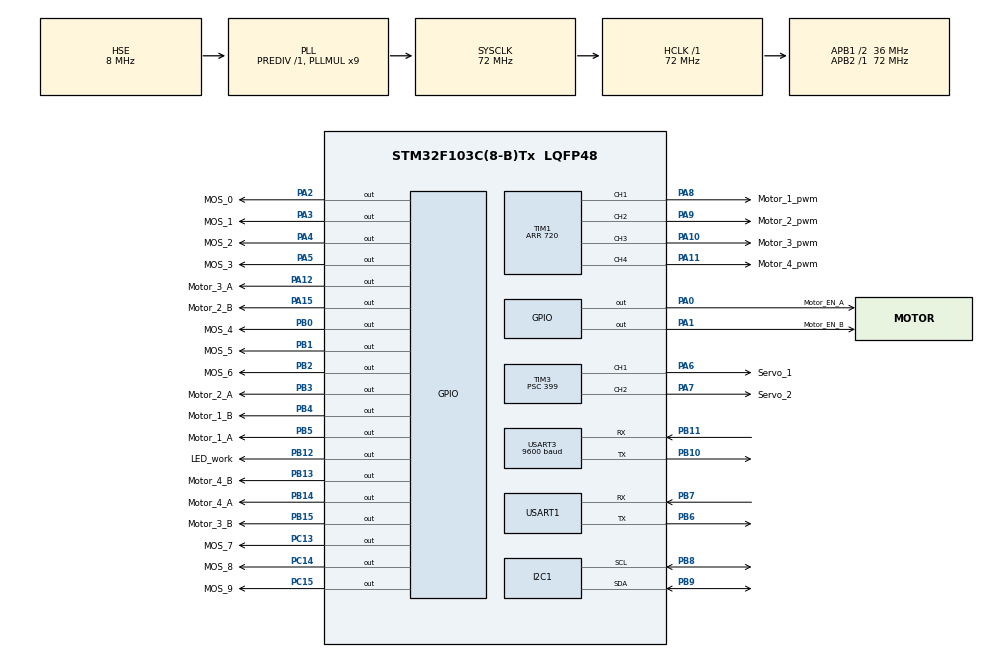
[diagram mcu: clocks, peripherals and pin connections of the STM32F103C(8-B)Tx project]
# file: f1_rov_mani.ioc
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I2C1.OwnAddress=0x04
Mcu.Family=STM32F1
Mcu.Name=STM32F103C(8-B)Tx
Mcu.Package=LQFP48
NVIC.I2C1_ER_IRQn=true\:0\:0\:false\:false\:true\:true\:true\:true
NVIC.I2C1_EV_IRQn=true\:0\:0\:false\:false\:true\:true\:true\:true
NVIC.PriorityGroup=NVIC_PRIORITYGROUP_4
NVIC.TIM2_IRQn=true\:0\:0\:false\:false\:true\:true\:true\:true
NVIC.TIM4_IRQn=true\:0\:0\:false\:false\:true\:true\:true\:true
NVIC.USART1_IRQn=true\:0\:0\:false\:false\:true\:true\:true\:true
PA0-WKUP.GPIO_Label=Motor_EN_A
PA0-WKUP.Signal=GPIO_Output
PA1.GPIO_Label=Motor_EN_B
PA1.Signal=GPIO_Output
PA10.GPIO_Label=Motor_3_pwm
PA10.Signal=S_TIM1_CH3
PA11.GPIO_Label=Motor_4_pwm
PA11.Signal=S_TIM1_CH4
PA12.GPIO_Label=Motor_3_A
PA12.Signal=GPIO_Output
PA13.Mode=Serial_Wire
PA13.Signal=SYS_JTMS-SWDIO
PA14.Mode=Serial_Wire
PA14.Signal=SYS_JTCK-SWCLK
PA15.GPIO_Label=Motor_2_B
PA15.Signal=GPIO_Output
PA2.GPIO_Label=MOS_0
PA2.Signal=GPIO_Output
PA3.GPIO_Label=MOS_1
PA3.Signal=GPIO_Output
PA4.GPIO_Label=MOS_2
PA4.Signal=GPIO_Output
PA5.GPIO_Label=MOS_3
PA5.Signal=GPIO_Output
PA6.GPIO_Label=Servo_1
PA6.Signal=S_TIM3_CH1
PA7.GPIO_Label=Servo_2
PA7.Signal=S_TIM3_CH2
PA8.GPIO_Label=Motor_1_pwm
PA8.Signal=S_TIM1_CH1
PA9.GPIO_Label=Motor_2_pwm
PA9.Signal=S_TIM1_CH2
PB0.GPIO_Label=MOS_4
PB0.Signal=GPIO_Output
PB1.GPIO_Label=MOS_5
PB1.Signal=GPIO_Output
PB10.Mode=Asynchronous
PB10.Signal=USART3_TX
PB11.Mode=Asynchronous
PB11.Signal=USART3_RX
PB12.GPIO_Label=LED_work
PB12.Signal=GPIO_Output
PB13.GPIO_Label=Motor_4_B
PB13.Signal=GPIO_Output
PB14.GPIO_Label=Motor_4_A
PB14.Signal=GPIO_Output
PB15.GPIO_Label=Motor_3_B
PB15.Signal=GPIO_Output
PB2.GPIO_Label=MOS_6
PB2.Signal=GPIO_Output
PB3.GPIO_Label=Motor_2_A
PB3.Signal=GPIO_Output
PB4.GPIO_Label=Motor_1_B
PB4.Signal=GPIO_Output
PB5.GPIO_Label=Motor_1_A
PB5.Signal=GPIO_Output
PB6.Mode=Asynchronous
PB6.Signal=USART1_TX
PB7.Mode=Asynchronous
PB7.Signal=USART1_RX
PB8.GPIO_Pu=GPIO_PULLUP
PB8.Mode=I2C
PB8.Signal=I2C1_SCL
PB9.GPIO_Pu=GPIO_PULLUP
PB9.Mode=I2C
PB9.Signal=I2C1_SDA
PC13-TAMPER-RTC.GPIO_Label=MOS_7
PC13-TAMPER-RTC.Signal=GPIO_Output
PC14-OSC32_IN.GPIO_Label=MOS_8
PC14-OSC32_IN.Signal=GPIO_Output
PC15-OSC32_OUT.GPIO_Label=MOS_9
PC15-OSC32_OUT.Signal=GPIO_Output
PD0-OSC_IN.Mode=HSE-External-Oscillator
PD0-OSC_IN.Signal=RCC_OSC_IN
PD1-OSC_OUT.Mode=HSE-External-Oscillator
PD1-OSC_OUT.Signal=RCC_OSC_OUT
ProjectManager.HeapSize=0x200
ProjectManager.StackSize=0x400
ProjectManager.TargetToolchain=MDK-ARM V5
RCC.AHBFreq_Value=72000000
RCC.APB1CLKDivider=RCC_HCLK_DIV2
RCC.APB1Freq_Value=36000000
RCC.APB1TimFreq_Value=72000000
RCC.APB2Freq_Value=72000000
RCC.APB2TimFreq_Value=72000000
RCC.HCLKFreq_Value=72000000
RCC.PLLMUL=RCC_PLL_MUL9
RCC.PLLSourceVirtual=RCC_PLLSOURCE_HSE
RCC.SYSCLKFreq_VALUE=72000000
RCC.SYSCLKSource=RCC_SYSCLKSOURCE_PLLCLK
RCC.USBFreq_Value=72000000
SH.S_TIM1_CH1.0=TIM1_CH1,PWM Generation1 CH1
SH.S_TIM1_CH2.0=TIM1_CH2,PWM Generation2 CH2
SH.S_TIM1_CH3.0=TIM1_CH3,PWM Generation3 CH3
SH.S_TIM1_CH4.0=TIM1_CH4,PWM Generation4 CH4
SH.S_TIM3_CH1.0=TIM3_CH1,PWM Generation1 CH1
SH.S_TIM3_CH2.0=TIM3_CH2,PWM Generation2 CH2
TIM1.Channel-PWM\ Generation1\ CH1=TIM_CHANNEL_1
TIM1.Channel-PWM\ Generation2\ CH2=TIM_CHANNEL_2
TIM1.Channel-PWM\ Generation3\ CH3=TIM_CHANNEL_3
TIM1.Channel-PWM\ Generation4\ CH4=TIM_CHANNEL_4
TIM1.Period=720
TIM2.Period=2000
TIM2.Prescaler=7199
TIM3.Channel-PWM\ Generation1\ CH1=TIM_CHANNEL_1
TIM3.Channel-PWM\ Generation2\ CH2=TIM_CHANNEL_2
TIM3.Period=3600
TIM3.Prescaler=399
TIM3.Pulse-PWM\ Generation1\ CH1=270
TIM3.Pulse-PWM\ Generation2\ CH2=270
TIM4.Period=10000
TIM4.Prescaler=7199
USART1.VirtualMode=VM_ASYNC
USART3.BaudRate=9600
USART3.VirtualMode=VM_ASYNC
VP_TIM2_VS_ClockSourceINT.Mode=Internal
VP_TIM4_VS_ClockSourceINT.Mode=Internal
board=custom

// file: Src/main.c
/* USER CODE BEGIN Header */
/**
  ******************************************************************************
  * @file           : main.c
  * @brief          : Main program body
  ******************************************************************************
  ** This notice applies to any and all portions of this file
  * that are not between comment pairs USER CODE BEGIN and
  * USER CODE END. Other portions of this file, whether
  * inserted by the user or by software development tools
  * are owned by their respective copyright owners.
  *
  * COPYRIGHT(c) 2019 STMicroelectronics
  *
  * Redistribution and use in source and binary forms, with or without modification,
  * are permitted provided that the following conditions are met:
  *   1. Redistributions of source code must retain the above copyright notice,
  *      this list of conditions and the following disclaimer.
  *   2. Redistributions in binary form must reproduce the above copyright notice,
  *      this list of conditions and the following disclaimer in the documentation
  *      and/or other materials provided with the distribution.
  *   3. Neither the name of STMicroelectronics nor the names of its contributors
  *      may be used to endorse or promote products derived from this software
  *      without specific prior written permission.
  *
  * THIS SOFTWARE IS PROVIDED BY THE COPYRIGHT HOLDERS AND CONTRIBUTORS "AS IS"
  * AND ANY EXPRESS OR IMPLIED WARRANTIES, INCLUDING, BUT NOT LIMITED TO, THE
  * IMPLIED WARRANTIES OF MERCHANTABILITY AND FITNESS FOR A PARTICULAR PURPOSE ARE
  * DISCLAIMED. IN NO EVENT SHALL THE COPYRIGHT HOLDER OR CONTRIBUTORS BE LIABLE
  * FOR ANY DIRECT, INDIRECT, INCIDENTAL, SPECIAL, EXEMPLARY, OR CONSEQUENTIAL
  * DAMAGES (INCLUDING, BUT NOT LIMITED TO, PROCUREMENT OF SUBSTITUTE GOODS OR
  * SERVICES; LOSS OF USE, DATA, OR PROFITS; OR BUSINESS INTERRUPTION) HOWEVER
  * CAUSED AND ON ANY THEORY OF LIABILITY, WHETHER IN CONTRACT, STRICT LIABILITY,
  * OR TORT (INCLUDING NEGLIGENCE OR OTHERWISE) ARISING IN ANY WAY OUT OF THE USE
  * OF THIS SOFTWARE, EVEN IF ADVISED OF THE POSSIBILITY OF SUCH DAMAGE.
  *
  ******************************************************************************
  */
/* USER CODE END Header */
#include "main.h"

/* USER CODE BEGIN Includes */
#include "register_map.h"
/* USER CODE END Includes */

I2C_HandleTypeDef hi2c1;

TIM_HandleTypeDef htim1;
TIM_HandleTypeDef htim2;
TIM_HandleTypeDef htim3;
TIM_HandleTypeDef htim4;

UART_HandleTypeDef huart1;
UART_HandleTypeDef huart3;

/* USER CODE BEGIN PV */
uint8_t rece[1];
uint8_t rece_i2c[1];
uint8_t command[2];
uint8_t registers[register_count];
uint8_t operate[2];

TIM_OC_InitTypeDef m1,m2,m3,m4;

uint8_t addressed = 0;
uint8_t addressed_i2c = 0;
uint8_t i2c_check_flag = 0;
uint8_t command_flag = 0;
uint8_t led_light_1;
uint8_t led_light_2;
uint8_t send[2];
uint32_t n_pulse;

/* USER CODE END PV */

void SystemClock_Config(void);
static void MX_GPIO_Init(void);
static void MX_TIM1_Init(void);
static void MX_I2C1_Init(void);
static void MX_USART1_UART_Init(void);
static void MX_TIM3_Init(void);
static void MX_USART3_UART_Init(void);
static void MX_TIM4_Init(void);
static void MX_TIM2_Init(void);

/* USER CODE BEGIN 0 */
void operate_handle(uint8_t* todo){
	switch (todo[0]) {
		case '1':
			switch (todo[1]) {
				case 'F':
					n_pulse = registers[motor_1_speed - 0x80] * motor_pulse_max;
					n_pulse /= 100;
					htim1.Instance->CCR1 = n_pulse;
					HAL_GPIO_WritePin(Motor_1_B_GPIO_Port,Motor_1_B_Pin,GPIO_PIN_SET);
					HAL_GPIO_WritePin(Motor_1_A_GPIO_Port,Motor_1_A_Pin,GPIO_PIN_RESET);
					HAL_GPIO_WritePin(Motor_EN_A_GPIO_Port,Motor_EN_A_Pin,GPIO_PIN_SET);
					HAL_TIM_PWM_Start(&htim1,TIM_CHANNEL_1);
					break;

				case 'B':
					n_pulse = registers[motor_1_speed - 0x80] * motor_pulse_max;
					n_pulse /= 100;
					htim1.Instance->CCR1 = n_pulse;
					HAL_GPIO_WritePin(Motor_1_B_GPIO_Port,Motor_1_B_Pin,GPIO_PIN_RESET);
					HAL_GPIO_WritePin(Motor_1_A_GPIO_Port,Motor_1_A_Pin,GPIO_PIN_SET);
					HAL_GPIO_WritePin(Motor_EN_A_GPIO_Port,Motor_EN_A_Pin,GPIO_PIN_SET);
					HAL_TIM_PWM_Start(&htim1,TIM_CHANNEL_1);
					break;

				case 'S':
					HAL_GPIO_WritePin(Motor_EN_A_GPIO_Port,Motor_EN_A_Pin,GPIO_PIN_RESET);
					break;
			}
			break;

		case '2':
			switch (todo[1]) {
				case 'F':
					n_pulse = registers[motor_2_speed - 0x80] * motor_pulse_max;
					n_pulse /= 100;
					htim1.Instance->CCR2 = n_pulse;
					HAL_GPIO_WritePin(Motor_2_A_GPIO_Port,Motor_2_A_Pin,GPIO_PIN_SET);
					HAL_GPIO_WritePin(Motor_2_B_GPIO_Port,Motor_2_B_Pin,GPIO_PIN_RESET);
					HAL_GPIO_WritePin(Motor_EN_A_GPIO_Port,Motor_EN_A_Pin,GPIO_PIN_SET);
					HAL_TIM_PWM_Start(&htim1,TIM_CHANNEL_2);
					break;

				case 'B':
					n_pulse = registers[motor_2_speed - 0x80] * motor_pulse_max;
					n_pulse /= 100;
					htim1.Instance->CCR2 = n_pulse;
					HAL_GPIO_WritePin(Motor_2_A_GPIO_Port,Motor_2_A_Pin,GPIO_PIN_RESET);
					HAL_GPIO_WritePin(Motor_2_B_GPIO_Port,Motor_2_B_Pin,GPIO_PIN_SET);
					HAL_GPIO_WritePin(Motor_EN_A_GPIO_Port,Motor_EN_A_Pin,GPIO_PIN_SET);
					HAL_TIM_PWM_Start(&htim1,TIM_CHANNEL_2);
					break;

				case 'S':
					HAL_GPIO_WritePin(Motor_EN_A_GPIO_Port,Motor_EN_A_Pin,GPIO_PIN_RESET);
					break;
			}
			break;

		case '3':
			switch (todo[1]) {
				case 'F':
					n_pulse = registers[motor_3_speed - 0x80] * motor_pulse_max;
					n_pulse /= 100;
					htim1.Instance->CCR3 = n_pulse;
					HAL_GPIO_WritePin(Motor_3_B_GPIO_Port,Motor_3_B_Pin,GPIO_PIN_SET);
					HAL_GPIO_WritePin(Motor_3_A_GPIO_Port,Motor_3_A_Pin,GPIO_PIN_RESET);
					HAL_GPIO_WritePin(Motor_EN_B_GPIO_Port,Motor_EN_B_Pin,GPIO_PIN_SET);
					HAL_TIM_PWM_Start(&htim1,TIM_CHANNEL_3);
					break;

				case 'B':
					n_pulse = registers[motor_3_speed - 0x80] * motor_pulse_max;
					n_pulse /= 100;
					htim1.Instance->CCR3 = n_pulse;
					HAL_GPIO_WritePin(Motor_3_B_GPIO_Port,Motor_3_B_Pin,GPIO_PIN_RESET);
					HAL_GPIO_WritePin(Motor_3_A_GPIO_Port,Motor_3_A_Pin,GPIO_PIN_SET);
					HAL_GPIO_WritePin(Motor_EN_B_GPIO_Port,Motor_EN_B_Pin,GPIO_PIN_SET);
					HAL_TIM_PWM_Start(&htim1,TIM_CHANNEL_3);
					break;

				case 'S':
					HAL_GPIO_WritePin(Motor_EN_B_GPIO_Port,Motor_EN_B_Pin,GPIO_PIN_RESET);
					break;
			}
			break;

		case '4':
			switch (todo[1]) {
				case 'F':
					n_pulse = registers[motor_4_speed - 0x80] * motor_pulse_max;
					n_pulse /= 100;
					htim1.Instance->CCR4 = n_pulse;
					HAL_GPIO_WritePin(Motor_4_A_GPIO_Port,Motor_4_A_Pin,GPIO_PIN_SET);
					HAL_GPIO_WritePin(Motor_4_B_GPIO_Port,Motor_4_B_Pin,GPIO_PIN_RESET);
					HAL_GPIO_WritePin(Motor_EN_B_GPIO_Port,Motor_EN_B_Pin,GPIO_PIN_SET);
					HAL_TIM_PWM_Start(&htim1,TIM_CHANNEL_4);
					break;

				case 'B':
					n_pulse = registers[motor_4_speed - 0x80] * motor_pulse_max;
					n_pulse /= 100;
					htim1.Instance->CCR4 = n_pulse;
					HAL_GPIO_WritePin(Motor_4_A_GPIO_Port,Motor_4_A_Pin,GPIO_PIN_RESET);
					HAL_GPIO_WritePin(Motor_4_B_GPIO_Port,Motor_4_B_Pin,GPIO_PIN_SET);
					HAL_GPIO_WritePin(Motor_EN_B_GPIO_Port,Motor_EN_B_Pin,GPIO_PIN_SET);
					HAL_TIM_PWM_Start(&htim1,TIM_CHANNEL_4);
					break;

				case 'S':
					HAL_GPIO_WritePin(Motor_EN_B_GPIO_Port,Motor_EN_B_Pin,GPIO_PIN_RESET);
					break;
			}
			break;

		case 'H':
			switch (todo[1]) {
				case '0':
					send[0] = '1';
					send[1] = 0;
					HAL_UART_Transmit(&huart3,send,2,10);
					break;

				case '1':
					led_light_1 = registers[led_light - 0x80] & 0x07;
					send[0] = '1';
					send[1] = led_light_1;
					HAL_UART_Transmit(&huart3,send,2,10);
					break;

				case 'B':
					led_light_1 = registers[led_light - 0x80] & 0x07;
					send[0] = '1';
					if (led_light_1 != 6){
						registers[led_light - 0x80] += 1;
						led_light_1 += 1;
					}
					send[1] = led_light_1;
					HAL_UART_Transmit(&huart3,send,2,10);
					break;

				case 'D':
					led_light_1 = registers[led_light - 0x80] & 0x07;
					send[0] = '1';
					if (led_light_1 != 0){
						registers[led_light - 0x80] -= 1;
						led_light_1 -= 1;
					}
					send[1] = led_light_1;
					HAL_UART_Transmit(&huart3,send,2,10);
					break;
			}
			break;

		case 'B':
			switch (todo[1]) {
				case '0':
					send[0] = '2';
					send[1] = 0;
					HAL_UART_Transmit(&huart3,send,2,10);
					break;

				case '1':
					led_light_2 = registers[led_light - 0x80] >> 3;
					led_light_2 &= 0x07;
					send[0] = '2';
					send[1] = led_light_2;
					HAL_UART_Transmit(&huart3,send,2,10);
					break;

				case 'B':
					led_light_2 = registers[led_light - 0x80] >> 3;
					led_light_2 &= 0x07;
					send[0] = '2';
					if (led_light_2 != 6){
						registers[led_light - 0x80] += 8;
						led_light_2 += 1;
					}
					send[1] = led_light_2;
					HAL_UART_Transmit(&huart3,send,2,10);
					break;

				case 'D':
					led_light_2 = registers[led_light - 0x80] >> 3;
					led_light_2 &= 0x07;
					send[0] = '2';
					if (led_light_2 != 0){
						registers[led_light - 0x80] -= 8;
						led_light_2 -= 1;
					}
					send[1] = led_light_2;
					HAL_UART_Transmit(&huart3,send,2,10);
					break;

			}
			break;

		case 'F':
			switch (todo[1]) {
				case '0':
					READ_BIT(registers[mosfet_1_reg - 0x80],mos_0)?HAL_GPIO_TogglePin(MOS_0_GPIO_Port,MOS_0_Pin):HAL_GPIO_WritePin(MOS_0_GPIO_Port,MOS_0_Pin,GPIO_PIN_SET);
					break;

				case '1':
					READ_BIT(registers[mosfet_1_reg - 0x80],mos_1)?HAL_GPIO_TogglePin(MOS_1_GPIO_Port,MOS_1_Pin):HAL_GPIO_WritePin(MOS_1_GPIO_Port,MOS_1_Pin,GPIO_PIN_SET);
					break;

				case '2':
					READ_BIT(registers[mosfet_1_reg - 0x80],mos_2)?HAL_GPIO_TogglePin(MOS_2_GPIO_Port,MOS_2_Pin):HAL_GPIO_WritePin(MOS_2_GPIO_Port,MOS_2_Pin,GPIO_PIN_SET);
					break;

				case '3':
					READ_BIT(registers[mosfet_1_reg - 0x80],mos_3)?HAL_GPIO_TogglePin(MOS_3_GPIO_Port,MOS_3_Pin):HAL_GPIO_WritePin(MOS_3_GPIO_Port,MOS_3_Pin,GPIO_PIN_SET);
					break;

				case '4':
					READ_BIT(registers[mosfet_1_reg - 0x80],mos_4)?HAL_GPIO_TogglePin(MOS_4_GPIO_Port,MOS_4_Pin):HAL_GPIO_WritePin(MOS_4_GPIO_Port,MOS_4_Pin,GPIO_PIN_SET);
					break;

				case '5':
					READ_BIT(registers[mosfet_1_reg - 0x80],mos_5)?HAL_GPIO_TogglePin(MOS_5_GPIO_Port,MOS_5_Pin):HAL_GPIO_WritePin(MOS_5_GPIO_Port,MOS_5_Pin,GPIO_PIN_SET);
					break;

				case '6':
					READ_BIT(registers[mosfet_1_reg - 0x80],mos_6)?HAL_GPIO_TogglePin(MOS_6_GPIO_Port,MOS_6_Pin):HAL_GPIO_WritePin(MOS_6_GPIO_Port,MOS_6_Pin,GPIO_PIN_SET);
					break;

				case '7':
					READ_BIT(registers[mosfet_2_reg - 0x80],mos_7)?HAL_GPIO_TogglePin(MOS_7_GPIO_Port,MOS_7_Pin):HAL_GPIO_WritePin(MOS_7_GPIO_Port,MOS_7_Pin,GPIO_PIN_SET);
					break;

				case '8':
					READ_BIT(registers[mosfet_2_reg - 0x80],mos_8)?HAL_GPIO_TogglePin(MOS_8_GPIO_Port,MOS_8_Pin):HAL_GPIO_WritePin(MOS_8_GPIO_Port,MOS_8_Pin,GPIO_PIN_SET);
					break;

				case '9':
					READ_BIT(registers[mosfet_2_reg - 0x80],mos_9)?HAL_GPIO_TogglePin(MOS_9_GPIO_Port,MOS_9_Pin):HAL_GPIO_WritePin(MOS_9_GPIO_Port,MOS_9_Pin,GPIO_PIN_SET);
					break;
			}
			HAL_TIM_Base_Start_IT(&htim2);
			break;

		case 'M':
			send[0] = 'M';
			send[1] = 1;
			HAL_UART_Transmit(&huart3,send,2,10);
			HAL_TIM_Base_Start_IT(&htim2);
			break;
	}
}

void change_reg(void){
	uint8_t tmp = command[0] + 0x80;

	switch (tmp) {
		case servo_1_deg:
			htim3.Instance->CCR1 = servo_0 + registers[servo_1_deg - 0x80];
			HAL_TIM_PWM_Start(&htim3,TIM_CHANNEL_1);
			break;

		case servo_2_deg:
			htim3.Instance->CCR2 = servo_0 + registers[servo_2_deg - 0x80];
			HAL_TIM_PWM_Start(&htim3,TIM_CHANNEL_2);
			break;

		case led_light:
			led_light_1 = registers[led_light - 0x80] & 0x07;
			send[0] = '1';
			send[1] = led_light_1;
			HAL_UART_Transmit(&huart3,send,2,10);
			led_light_2 = registers[led_light - 0x80] >> 3;
			led_light_2 &= 0x07;
			send[0] = '2';
			send[1] = led_light_2;
			HAL_UART_Transmit(&huart3,send,2,10);
			break;

		case motor_1_speed:
			n_pulse = registers[motor_1_speed - 0x80] * motor_pulse_max;
			n_pulse /= 100;
			htim1.Instance->CCR1 = n_pulse;
			HAL_TIM_PWM_Start(&htim1,TIM_CHANNEL_1);
			break;

		case motor_2_speed:
			n_pulse = registers[motor_2_speed - 0x80] * motor_pulse_max;
			n_pulse /= 100;
			htim1.Instance->CCR2 = n_pulse;
			HAL_TIM_PWM_Start(&htim1,TIM_CHANNEL_2);
			break;

		case motor_3_speed:
			n_pulse = registers[motor_3_speed - 0x80] * motor_pulse_max;
			n_pulse /= 100;
			htim1.Instance->CCR3 = n_pulse;
			HAL_TIM_PWM_Start(&htim1,TIM_CHANNEL_3);
			break;

		case motor_4_speed:
			n_pulse = registers[motor_4_speed - 0x80] * motor_pulse_max;
			n_pulse /= 100;
			htim1.Instance->CCR4 = n_pulse;
			HAL_TIM_PWM_Start(&htim1,TIM_CHANNEL_4);
			break;
	}
}
void HAL_UART_RxCpltCallback(UART_HandleTypeDef *huart){
	HAL_GPIO_TogglePin(LED_work_GPIO_Port,LED_work_Pin);

	if (!command_flag){
		if (rece[0] == 0x8A){
			command_flag = 2;
		}else if (READ_BIT(rece[0],0x80) && !addressed){    // set register
			command[0] = rece[0] - 0x80;
			addressed++;
		} else if (command[0]){                         		// set value
			command[1] = rece[0];
			registers[command[0]] = rece[0];
			change_reg();
			addressed--;
			command[0] = 0;
		}
	} else {
		if (command_flag == 2){
			operate[0] = rece[0];
		} else if (command_flag == 1){
			operate[1] = rece[0];
			operate_handle(operate);
		}
		command_flag--;
	}
  HAL_UART_Receive_IT(&huart1,rece,1);
}

/*void HAL_I2C_SlaveRxCpltCallback(I2C_HandleTypeDef *hi2c){
	if (READ_BIT(rece_i2c[0],0x80) && !addressed_i2c){    // set register
    command[0] = rece_i2c[0] - 0x80;
		addressed_i2c++;
	} else if (command[0]){                         // set value
    command[1] = rece_i2c[0];
    registers[command[0]] = rece_i2c[0];
    work(registers);
		addressed_i2c--;
		command[0] = 0;
  }
	HAL_I2C_Slave_Receive_IT(&hi2c1,rece_i2c,1);
}*/

void nth(void){};
void HAL_TIM_PeriodElapsedCallback(TIM_HandleTypeDef *htim){
	if (htim == &htim4){
		addressed = 0;
		addressed_i2c = 0;
	}
	if (htim == &htim2){
		!READ_BIT(registers[mosfet_1_reg - 0x80],mos_0)?HAL_GPIO_WritePin(MOS_0_GPIO_Port,MOS_0_Pin,GPIO_PIN_RESET):nth();
		!READ_BIT(registers[mosfet_1_reg - 0x80],mos_1)?HAL_GPIO_WritePin(MOS_1_GPIO_Port,MOS_1_Pin,GPIO_PIN_RESET):nth();
		!READ_BIT(registers[mosfet_1_reg - 0x80],mos_3)?HAL_GPIO_WritePin(MOS_3_GPIO_Port,MOS_3_Pin,GPIO_PIN_RESET):nth();
		!READ_BIT(registers[mosfet_1_reg - 0x80],mos_2)?HAL_GPIO_WritePin(MOS_2_GPIO_Port,MOS_2_Pin,GPIO_PIN_RESET):nth();
		!READ_BIT(registers[mosfet_1_reg - 0x80],mos_4)?HAL_GPIO_WritePin(MOS_4_GPIO_Port,MOS_4_Pin,GPIO_PIN_RESET):nth();
		!READ_BIT(registers[mosfet_1_reg - 0x80],mos_5)?HAL_GPIO_WritePin(MOS_5_GPIO_Port,MOS_5_Pin,GPIO_PIN_RESET):nth();
		!READ_BIT(registers[mosfet_1_reg - 0x80],mos_6)?HAL_GPIO_WritePin(MOS_6_GPIO_Port,MOS_6_Pin,GPIO_PIN_RESET):nth();
		!READ_BIT(registers[mosfet_2_reg - 0x80],mos_7)?HAL_GPIO_WritePin(MOS_7_GPIO_Port,MOS_7_Pin,GPIO_PIN_RESET):nth();
		!READ_BIT(registers[mosfet_2_reg - 0x80],mos_8)?HAL_GPIO_WritePin(MOS_8_GPIO_Port,MOS_8_Pin,GPIO_PIN_RESET):nth();
		!READ_BIT(registers[mosfet_2_reg - 0x80],mos_9)?HAL_GPIO_WritePin(MOS_9_GPIO_Port,MOS_9_Pin,GPIO_PIN_RESET):nth();
		if (!READ_BIT(registers[mosfet_2_reg - 0x80],magnet)){
			send[0] = 'M';
			send[1] = 0;
			HAL_UART_Transmit(&huart3,send,2,10);
		}
	}
}
/* USER CODE END 0 */

int main(void)
{

  /* MCU Configuration--------------------------------------------------------*/

  /* Reset of all peripherals, Initializes the Flash interface and the Systick. */
  HAL_Init();

  /* Configure the system clock */
  SystemClock_Config();

  /* Initialize all configured peripherals */
  MX_GPIO_Init();
  MX_TIM1_Init();
  MX_I2C1_Init();
  MX_USART1_UART_Init();
  MX_TIM3_Init();
  MX_USART3_UART_Init();
  MX_TIM4_Init();
  MX_TIM2_Init();
  /* USER CODE BEGIN 2 */
  registers[state_reg - 0x80] = 0x7F;
	registers[mosfet_2_reg - 0x80] = 0x08;
	registers[servo_1_deg - 0x80] = 90;
	registers[servo_2_deg - 0x80] = 90;
	registers[motor_1_speed - 0x80] = 10;
	registers[motor_2_speed - 0x80] = 10;
	registers[motor_3_speed - 0x80] = 10;
	registers[motor_4_speed - 0x80] = 10;
	registers[led_light - 0x80] = 0x1B;
	//HAL_I2C_Slave_Receive_IT(&hi2c1,rece_i2c,1);

	uint8_t init[2];
	init[0] = '1';
	init[1] = 3;
	HAL_UART_Transmit(&huart3,init,2,20);
	init[0] = '2';
	HAL_UART_Transmit(&huart3,init,2,20);
	HAL_TIM_PWM_Start(&htim3,TIM_CHANNEL_1);
	HAL_TIM_PWM_Start(&htim3,TIM_CHANNEL_2);
  HAL_UART_Receive_IT(&huart1,rece,1);
	HAL_TIM_Base_Start_IT(&htim4);

  /* USER CODE END 2 */

  /* Infinite loop */
  /* USER CODE BEGIN WHILE */
  while (1)
  {
//		HAL_Delay(500);
//		READ_BIT(registers[mosfet_2_reg - 0x80],mos_9)?HAL_GPIO_TogglePin(MOS_9_GPIO_Port,MOS_9_Pin):HAL_GPIO_WritePin(MOS_9_GPIO_Port,MOS_9_Pin,GPIO_PIN_SET);
//		HAL_TIM_Base_Start_IT(&htim2);
		/*HAL_GPIO_WritePin(MOS_5_GPIO_Port,MOS_5_Pin,1);
		HAL_GPIO_WritePin(MOS_7_GPIO_Port,MOS_7_Pin,1);
		HAL_GPIO_WritePin(MOS_8_GPIO_Port,MOS_8_Pin,1);
		HAL_GPIO_WritePin(MOS_9_GPIO_Port,MOS_9_Pin,1);*/
    /* USER CODE END WHILE */

  }
}

void SystemClock_Config(void)
{
  RCC_OscInitTypeDef RCC_OscInitStruct = {0};
  RCC_ClkInitTypeDef RCC_ClkInitStruct = {0};

  /** Initializes the RCC Oscillators according to the specified parameters
  * in the RCC_OscInitTypeDef structure.
  */
  RCC_OscInitStruct.OscillatorType = RCC_OSCILLATORTYPE_HSE;
  RCC_OscInitStruct.HSEState = RCC_HSE_ON;
  RCC_OscInitStruct.HSEPredivValue = RCC_HSE_PREDIV_DIV1;
  RCC_OscInitStruct.HSIState = RCC_HSI_ON;
  RCC_OscInitStruct.PLL.PLLState = RCC_PLL_ON;
  RCC_OscInitStruct.PLL.PLLSource = RCC_PLLSOURCE_HSE;
  RCC_OscInitStruct.PLL.PLLMUL = RCC_PLL_MUL9;
  if (HAL_RCC_OscConfig(&RCC_OscInitStruct) != HAL_OK)
  {
    Error_Handler();
  }

  /** Initializes the CPU, AHB and APB buses clocks
  */
  RCC_ClkInitStruct.ClockType = RCC_CLOCKTYPE_HCLK|RCC_CLOCKTYPE_SYSCLK
                              |RCC_CLOCKTYPE_PCLK1|RCC_CLOCKTYPE_PCLK2;
  RCC_ClkInitStruct.SYSCLKSource = RCC_SYSCLKSOURCE_PLLCLK;
  RCC_ClkInitStruct.AHBCLKDivider = RCC_SYSCLK_DIV1;
  RCC_ClkInitStruct.APB1CLKDivider = RCC_HCLK_DIV2;
  RCC_ClkInitStruct.APB2CLKDivider = RCC_HCLK_DIV1;

  if (HAL_RCC_ClockConfig(&RCC_ClkInitStruct, FLASH_LATENCY_2) != HAL_OK)
  {
    Error_Handler();
  }
}

static void MX_I2C1_Init(void)
{

  hi2c1.Instance = I2C1;
  hi2c1.Init.ClockSpeed = 100000;
  hi2c1.Init.DutyCycle = I2C_DUTYCYCLE_2;
  hi2c1.Init.OwnAddress1 = 8;
  hi2c1.Init.AddressingMode = I2C_ADDRESSINGMODE_7BIT;
  hi2c1.Init.DualAddressMode = I2C_DUALADDRESS_DISABLE;
  hi2c1.Init.OwnAddress2 = 0;
  hi2c1.Init.GeneralCallMode = I2C_GENERALCALL_DISABLE;
  hi2c1.Init.NoStretchMode = I2C_NOSTRETCH_DISABLE;
  if (HAL_I2C_Init(&hi2c1) != HAL_OK)
  {
    Error_Handler();
  }

}

static void MX_TIM1_Init(void)
{

  TIM_MasterConfigTypeDef sMasterConfig = {0};
  TIM_OC_InitTypeDef sConfigOC = {0};
  TIM_BreakDeadTimeConfigTypeDef sBreakDeadTimeConfig = {0};

  htim1.Instance = TIM1;
  htim1.Init.Prescaler = 0;
  htim1.Init.CounterMode = TIM_COUNTERMODE_UP;
  htim1.Init.Period = 720;
  htim1.Init.ClockDivision = TIM_CLOCKDIVISION_DIV1;
  htim1.Init.RepetitionCounter = 0;
  htim1.Init.AutoReloadPreload = TIM_AUTORELOAD_PRELOAD_DISABLE;
  if (HAL_TIM_PWM_Init(&htim1) != HAL_OK)
  {
    Error_Handler();
  }
  sMasterConfig.MasterOutputTrigger = TIM_TRGO_RESET;
  sMasterConfig.MasterSlaveMode = TIM_MASTERSLAVEMODE_DISABLE;
  if (HAL_TIMEx_MasterConfigSynchronization(&htim1, &sMasterConfig) != HAL_OK)
  {
    Error_Handler();
  }
  sConfigOC.OCMode = TIM_OCMODE_PWM1;
  sConfigOC.Pulse = 0;
  sConfigOC.OCPolarity = TIM_OCPOLARITY_HIGH;
  sConfigOC.OCNPolarity = TIM_OCNPOLARITY_HIGH;
  sConfigOC.OCFastMode = TIM_OCFAST_DISABLE;
  sConfigOC.OCIdleState = TIM_OCIDLESTATE_RESET;
  sConfigOC.OCNIdleState = TIM_OCNIDLESTATE_RESET;
  if (HAL_TIM_PWM_ConfigChannel(&htim1, &sConfigOC, TIM_CHANNEL_1) != HAL_OK)
  {
    Error_Handler();
  }
  if (HAL_TIM_PWM_ConfigChannel(&htim1, &sConfigOC, TIM_CHANNEL_2) != HAL_OK)
  {
    Error_Handler();
  }
  if (HAL_TIM_PWM_ConfigChannel(&htim1, &sConfigOC, TIM_CHANNEL_3) != HAL_OK)
  {
    Error_Handler();
  }
  if (HAL_TIM_PWM_ConfigChannel(&htim1, &sConfigOC, TIM_CHANNEL_4) != HAL_OK)
  {
    Error_Handler();
  }
  sBreakDeadTimeConfig.OffStateRunMode = TIM_OSSR_DISABLE;
  sBreakDeadTimeConfig.OffStateIDLEMode = TIM_OSSI_DISABLE;
  sBreakDeadTimeConfig.LockLevel = TIM_LOCKLEVEL_OFF;
  sBreakDeadTimeConfig.DeadTime = 0;
  sBreakDeadTimeConfig.BreakState = TIM_BREAK_DISABLE;
  sBreakDeadTimeConfig.BreakPolarity = TIM_BREAKPOLARITY_HIGH;
  sBreakDeadTimeConfig.AutomaticOutput = TIM_AUTOMATICOUTPUT_DISABLE;
  if (HAL_TIMEx_ConfigBreakDeadTime(&htim1, &sBreakDeadTimeConfig) != HAL_OK)
  {
    Error_Handler();
  }
  HAL_TIM_MspPostInit(&htim1);

}

static void MX_TIM2_Init(void)
{

  TIM_ClockConfigTypeDef sClockSourceConfig = {0};
  TIM_MasterConfigTypeDef sMasterConfig = {0};

  htim2.Instance = TIM2;
  htim2.Init.Prescaler = 7199;
  htim2.Init.CounterMode = TIM_COUNTERMODE_UP;
  htim2.Init.Period = 2000;
  htim2.Init.ClockDivision = TIM_CLOCKDIVISION_DIV1;
  htim2.Init.AutoReloadPreload = TIM_AUTORELOAD_PRELOAD_DISABLE;
  if (HAL_TIM_Base_Init(&htim2) != HAL_OK)
  {
    Error_Handler();
  }
  sClockSourceConfig.ClockSource = TIM_CLOCKSOURCE_INTERNAL;
  if (HAL_TIM_ConfigClockSource(&htim2, &sClockSourceConfig) != HAL_OK)
  {
    Error_Handler();
  }
  sMasterConfig.MasterOutputTrigger = TIM_TRGO_RESET;
  sMasterConfig.MasterSlaveMode = TIM_MASTERSLAVEMODE_DISABLE;
  if (HAL_TIMEx_MasterConfigSynchronization(&htim2, &sMasterConfig) != HAL_OK)
  {
    Error_Handler();
  }

}

static void MX_TIM3_Init(void)
{

  TIM_MasterConfigTypeDef sMasterConfig = {0};
  TIM_OC_InitTypeDef sConfigOC = {0};

  htim3.Instance = TIM3;
  htim3.Init.Prescaler = 399;
  htim3.Init.CounterMode = TIM_COUNTERMODE_UP;
  htim3.Init.Period = 3600;
  htim3.Init.ClockDivision = TIM_CLOCKDIVISION_DIV1;
  htim3.Init.AutoReloadPreload = TIM_AUTORELOAD_PRELOAD_DISABLE;
  if (HAL_TIM_PWM_Init(&htim3) != HAL_OK)
  {
    Error_Handler();
  }
  sMasterConfig.MasterOutputTrigger = TIM_TRGO_RESET;
  sMasterConfig.MasterSlaveMode = TIM_MASTERSLAVEMODE_DISABLE;
  if (HAL_TIMEx_MasterConfigSynchronization(&htim3, &sMasterConfig) != HAL_OK)
  {
    Error_Handler();
  }
  sConfigOC.OCMode = TIM_OCMODE_PWM1;
  sConfigOC.Pulse = 270;
  sConfigOC.OCPolarity = TIM_OCPOLARITY_HIGH;
  sConfigOC.OCFastMode = TIM_OCFAST_DISABLE;
  if (HAL_TIM_PWM_ConfigChannel(&htim3, &sConfigOC, TIM_CHANNEL_1) != HAL_OK)
  {
    Error_Handler();
  }
  if (HAL_TIM_PWM_ConfigChannel(&htim3, &sConfigOC, TIM_CHANNEL_2) != HAL_OK)
  {
    Error_Handler();
  }
  HAL_TIM_MspPostInit(&htim3);

}

static void MX_TIM4_Init(void)
{

  TIM_ClockConfigTypeDef sClockSourceConfig = {0};
  TIM_MasterConfigTypeDef sMasterConfig = {0};

  htim4.Instance = TIM4;
  htim4.Init.Prescaler = 7199;
  htim4.Init.CounterMode = TIM_COUNTERMODE_UP;
  htim4.Init.Period = 10000;
  htim4.Init.ClockDivision = TIM_CLOCKDIVISION_DIV1;
  htim4.Init.AutoReloadPreload = TIM_AUTORELOAD_PRELOAD_DISABLE;
  if (HAL_TIM_Base_Init(&htim4) != HAL_OK)
  {
    Error_Handler();
  }
  sClockSourceConfig.ClockSource = TIM_CLOCKSOURCE_INTERNAL;
  if (HAL_TIM_ConfigClockSource(&htim4, &sClockSourceConfig) != HAL_OK)
  {
    Error_Handler();
  }
  sMasterConfig.MasterOutputTrigger = TIM_TRGO_RESET;
  sMasterConfig.MasterSlaveMode = TIM_MASTERSLAVEMODE_DISABLE;
  if (HAL_TIMEx_MasterConfigSynchronization(&htim4, &sMasterConfig) != HAL_OK)
  {
    Error_Handler();
  }

}

static void MX_USART1_UART_Init(void)
{

  huart1.Instance = USART1;
  huart1.Init.BaudRate = 115200;
  huart1.Init.WordLength = UART_WORDLENGTH_8B;
  huart1.Init.StopBits = UART_STOPBITS_1;
  huart1.Init.Parity = UART_PARITY_NONE;
  huart1.Init.Mode = UART_MODE_TX_RX;
  huart1.Init.HwFlowCtl = UART_HWCONTROL_NONE;
  huart1.Init.OverSampling = UART_OVERSAMPLING_16;
  if (HAL_UART_Init(&huart1) != HAL_OK)
  {
    Error_Handler();
  }

}

static void MX_USART3_UART_Init(void)
{

  huart3.Instance = USART3;
  huart3.Init.BaudRate = 9600;
  huart3.Init.WordLength = UART_WORDLENGTH_8B;
  huart3.Init.StopBits = UART_STOPBITS_1;
  huart3.Init.Parity = UART_PARITY_NONE;
  huart3.Init.Mode = UART_MODE_TX_RX;
  huart3.Init.HwFlowCtl = UART_HWCONTROL_NONE;
  huart3.Init.OverSampling = UART_OVERSAMPLING_16;
  if (HAL_UART_Init(&huart3) != HAL_OK)
  {
    Error_Handler();
  }

}

static void MX_GPIO_Init(void)
{
  GPIO_InitTypeDef GPIO_InitStruct = {0};

  /* GPIO Ports Clock Enable */
  __HAL_RCC_GPIOC_CLK_ENABLE();
  __HAL_RCC_GPIOD_CLK_ENABLE();
  __HAL_RCC_GPIOA_CLK_ENABLE();
  __HAL_RCC_GPIOB_CLK_ENABLE();

  /*Configure GPIO pin Output Level */
  HAL_GPIO_WritePin(GPIOC, MOS_7_Pin|MOS_8_Pin|MOS_9_Pin, GPIO_PIN_RESET);

  /*Configure GPIO pin Output Level */
  HAL_GPIO_WritePin(GPIOA, Motor_EN_A_Pin|Motor_EN_B_Pin|MOS_0_Pin|MOS_1_Pin
                          |MOS_2_Pin|MOS_3_Pin|Motor_3_A_Pin|Motor_2_B_Pin, GPIO_PIN_RESET);

  /*Configure GPIO pin Output Level */
  HAL_GPIO_WritePin(GPIOB, MOS_4_Pin|MOS_5_Pin|MOS_6_Pin|LED_work_Pin
                          |Motor_4_B_Pin|Motor_4_A_Pin|Motor_3_B_Pin|Motor_2_A_Pin
                          |Motor_1_B_Pin|Motor_1_A_Pin, GPIO_PIN_RESET);

  /*Configure GPIO pins : MOS_7_Pin MOS_8_Pin MOS_9_Pin */
  GPIO_InitStruct.Pin = MOS_7_Pin|MOS_8_Pin|MOS_9_Pin;
  GPIO_InitStruct.Mode = GPIO_MODE_OUTPUT_PP;
  GPIO_InitStruct.Pull = GPIO_NOPULL;
  GPIO_InitStruct.Speed = GPIO_SPEED_FREQ_LOW;
  HAL_GPIO_Init(GPIOC, &GPIO_InitStruct);

  /*Configure GPIO pins : Motor_EN_A_Pin Motor_EN_B_Pin MOS_0_Pin MOS_1_Pin
                           MOS_2_Pin MOS_3_Pin Motor_3_A_Pin Motor_2_B_Pin */
  GPIO_InitStruct.Pin = Motor_EN_A_Pin|Motor_EN_B_Pin|MOS_0_Pin|MOS_1_Pin
                          |MOS_2_Pin|MOS_3_Pin|Motor_3_A_Pin|Motor_2_B_Pin;
  GPIO_InitStruct.Mode = GPIO_MODE_OUTPUT_PP;
  GPIO_InitStruct.Pull = GPIO_NOPULL;
  GPIO_InitStruct.Speed = GPIO_SPEED_FREQ_LOW;
  HAL_GPIO_Init(GPIOA, &GPIO_InitStruct);

  /*Configure GPIO pins : MOS_4_Pin MOS_5_Pin MOS_6_Pin LED_work_Pin
                           Motor_4_B_Pin Motor_4_A_Pin Motor_3_B_Pin Motor_2_A_Pin
                           Motor_1_B_Pin Motor_1_A_Pin */
  GPIO_InitStruct.Pin = MOS_4_Pin|MOS_5_Pin|MOS_6_Pin|LED_work_Pin
                          |Motor_4_B_Pin|Motor_4_A_Pin|Motor_3_B_Pin|Motor_2_A_Pin
                          |Motor_1_B_Pin|Motor_1_A_Pin;
  GPIO_InitStruct.Mode = GPIO_MODE_OUTPUT_PP;
  GPIO_InitStruct.Pull = GPIO_NOPULL;
  GPIO_InitStruct.Speed = GPIO_SPEED_FREQ_LOW;
  HAL_GPIO_Init(GPIOB, &GPIO_InitStruct);

}

void Error_Handler(void)
{
}
